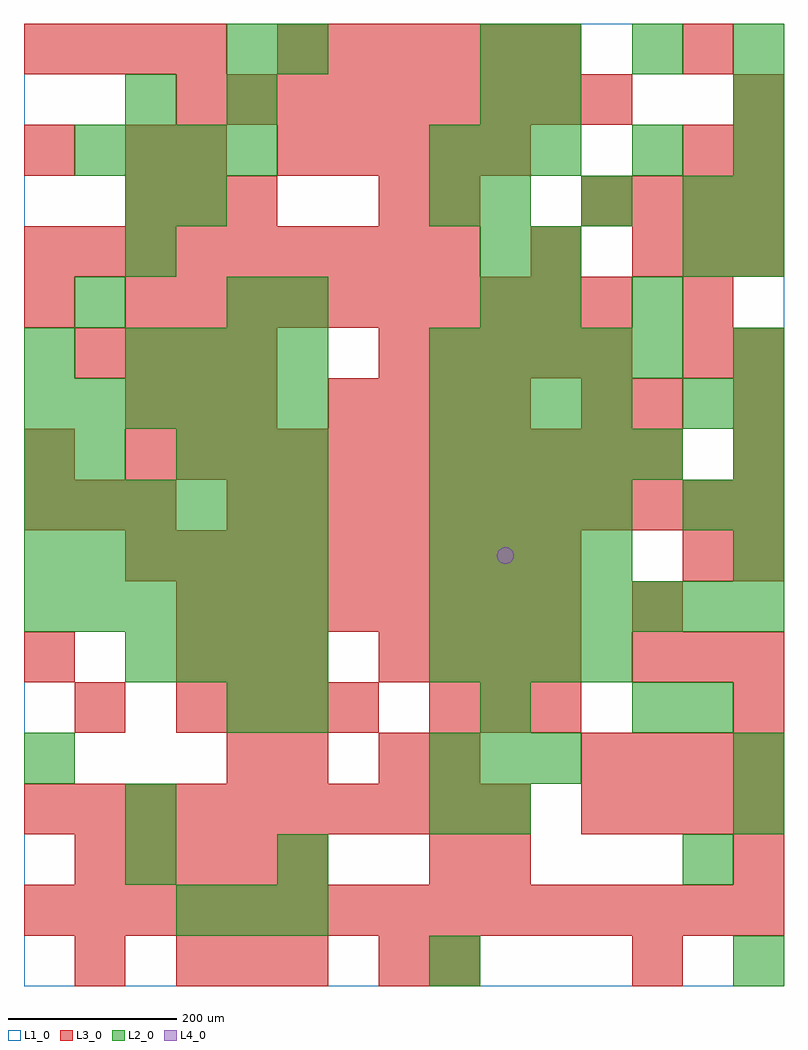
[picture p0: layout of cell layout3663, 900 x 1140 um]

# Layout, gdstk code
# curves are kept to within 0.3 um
import gdstk
lib = gdstk.Library(unit=1e-6, precision=1e-09)
def R(c, l, rs):  # rectangles x0, y0, x1, y1
    for r in rs: c.add(gdstk.rectangle(r[:2], r[2:], *l))
def A(c, l, x, y, w, h, nx, ny, dx, dy):  # array of equal rectangles
    R(c, l, [(x+i*dx, y+j*dy, x+i*dx+w, y+j*dy+h) for i in range(nx) for j in range(ny)])
def P(c, l, *ps):  # polygons
    for p in ps: c.add(gdstk.Polygon(p, *l))
L1_0 = (1, 0)
L2_0 = (2, 0)
L3_0 = (3, 0)
L4_0 = (4, 0)

layout3663 = lib.new_cell('layout3663')
R(layout3663, L1_0, [(0,0,900,1140)])
A(layout3663, L2_0, 180, 60, 60, 60, 3, 2, 60, 540)
A(layout3663, L2_0, 480, 240, 60, 60, 3, 2, 60, 720)
A(layout3663, L2_0, 120, 360, 60, 60, 4, 2, 60, 360)
A(layout3663, L2_0, 480, 360, 60, 60, 4, 2, 60, 120)
A(layout3663, L2_0, 0, 420, 60, 60, 6, 3, 60, 60)
A(layout3663, L2_0, 480, 420, 60, 60, 7, 1, 60, 0)
A(layout3663, L2_0, 840, 480, 60, 60, 1, 5, 0, 60)
A(layout3663, L2_0, 480, 540, 60, 60, 4, 2, 60, 120)
A(layout3663, L2_0, 480, 600, 60, 60, 5, 2, 60, 120)
A(layout3663, L2_0, 0, 660, 60, 60, 6, 1, 60, 0)
A(layout3663, L2_0, 840, 840, 60, 60, 1, 4, 0, 60)
A(layout3663, L2_0, 540, 900, 60, 60, 3, 1, 120, 0)
A(layout3663, L2_0, 60, 960, 60, 60, 4, 1, 60, 0)
A(layout3663, L2_0, 600, 1080, 60, 60, 3, 1, 120, 0)
R(layout3663, L2_0, [(480,0,540,60), (840,0,900,60), (120,120,180,180), (300,120,360,180), (780,120,840,180), (120,180,180,240), (480,180,540,240), (540,180,600,240), (840,180,900,240), (0,240,60,300), (840,240,900,300), (240,300,300,360), (300,300,360,360), (540,300,600,360), (720,300,780,360), (780,300,840,360), (780,540,840,600), (0,600,60,660), (60,600,120,660), (780,660,840,720), (0,720,60,780), (60,780,120,840), (240,780,300,840), (300,780,360,840), (540,780,600,840), (600,780,660,840), (720,780,780,840), (120,840,180,900), (540,840,600,900), (600,840,660,900), (780,840,840,900), (120,900,180,960), (180,900,240,960), (480,900,540,960), (720,960,780,1020), (120,1020,180,1080), (240,1020,300,1080), (540,1020,600,1080), (600,1020,660,1080), (240,1080,300,1140), (300,1080,360,1140), (540,1080,600,1140)])
A(layout3663, L3_0, 180, 0, 60, 60, 3, 2, 60, 360)
A(layout3663, L3_0, 480, 0, 60, 60, 1, 3, 0, 120)
A(layout3663, L3_0, 0, 60, 60, 60, 15, 1, 60, 0)
A(layout3663, L3_0, 60, 120, 60, 60, 5, 1, 60, 0)
A(layout3663, L3_0, 840, 120, 60, 60, 1, 3, 0, 180)
A(layout3663, L3_0, 0, 180, 60, 60, 10, 1, 60, 0)
A(layout3663, L3_0, 660, 180, 60, 60, 4, 2, 60, 60)
A(layout3663, L3_0, 180, 300, 60, 60, 4, 1, 60, 0)
A(layout3663, L3_0, 480, 300, 60, 60, 3, 1, 60, 0)
A(layout3663, L3_0, 420, 360, 60, 60, 4, 1, 60, 0)
A(layout3663, L3_0, 720, 360, 60, 60, 3, 2, 60, 480)
A(layout3663, L3_0, 180, 420, 60, 60, 8, 1, 60, 0)
A(layout3663, L3_0, 120, 480, 60, 60, 9, 1, 60, 0)
A(layout3663, L3_0, 0, 540, 60, 60, 3, 1, 60, 0)
A(layout3663, L3_0, 240, 540, 60, 60, 11, 1, 60, 0)
A(layout3663, L3_0, 0, 600, 60, 60, 1, 3, 0, 180)
A(layout3663, L3_0, 120, 600, 60, 60, 11, 1, 60, 0)
A(layout3663, L3_0, 840, 600, 60, 60, 1, 3, 0, 60)
A(layout3663, L3_0, 120, 660, 60, 60, 3, 2, 60, 240)
A(layout3663, L3_0, 360, 660, 60, 60, 4, 1, 60, 0)
A(layout3663, L3_0, 60, 720, 60, 60, 4, 1, 60, 0)
A(layout3663, L3_0, 420, 720, 60, 60, 5, 1, 60, 0)
A(layout3663, L3_0, 120, 780, 60, 60, 10, 1, 60, 0)
A(layout3663, L3_0, 0, 840, 60, 60, 9, 1, 60, 0)
A(layout3663, L3_0, 660, 900, 60, 60, 4, 1, 60, 0)
A(layout3663, L3_0, 300, 960, 60, 60, 5, 1, 60, 0)
A(layout3663, L3_0, 180, 1020, 60, 60, 9, 1, 60, 0)
A(layout3663, L3_0, 0, 1080, 60, 60, 4, 1, 60, 0)
A(layout3663, L3_0, 300, 1080, 60, 60, 6, 1, 60, 0)
R(layout3663, L3_0, [(60,0,120,60), (420,0,480,60), (720,0,780,60), (540,120,600,180), (240,240,300,300), (300,240,360,300), (420,240,480,300), (60,300,120,360), (0,360,60,420), (720,420,780,480), (780,480,840,540), (660,660,720,720), (720,660,780,720), (780,720,840,780), (780,780,840,840), (600,840,660,900), (420,900,480,960), (480,900,540,960), (120,960,180,1020), (180,960,240,1020), (780,960,840,1020), (840,960,900,1020), (840,1020,900,1080), (780,1080,840,1140)])
P(layout3663, L4_0, [(580,510),(579.239,513.827),(577.071,517.071),(573.827,519.239),(570,520),(566.173,519.239),(562.929,517.071),(560.761,513.827),(560,510),(560.761,506.173),(562.929,502.929),(566.173,500.761),(570,500),(573.827,500.761),(577.071,502.929),(579.239,506.173)])

lib.write_gds('layout3663.gds')
